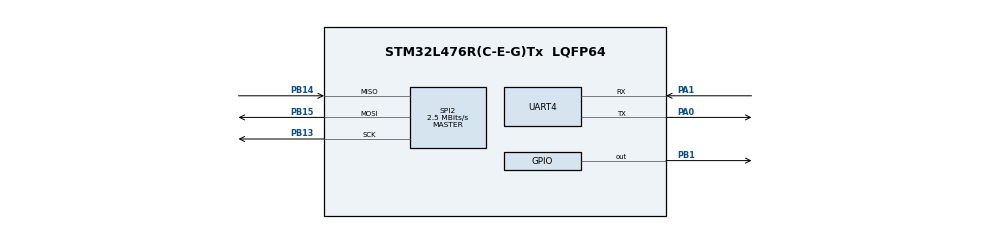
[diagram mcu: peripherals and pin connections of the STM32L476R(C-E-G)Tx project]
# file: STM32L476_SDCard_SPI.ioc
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FATFS._MAX_SS=512
FATFS._USE_LFN=0
Mcu.Family=STM32L4
Mcu.Name=STM32L476R(C-E-G)Tx
Mcu.Package=LQFP64
NVIC.PriorityGroup=NVIC_PRIORITYGROUP_4
PA0.Mode=Asynchronous
PA0.Signal=UART4_TX
PA1.Mode=Asynchronous
PA1.Signal=UART4_RX
PB1.GPIO_PuPd=GPIO_NOPULL
PB1.GPIO_Speed=GPIO_SPEED_FREQ_VERY_HIGH
PB1.PinState=GPIO_PIN_SET
PB1.Signal=GPIO_Output
PB13.GPIO_PuPd=GPIO_NOPULL
PB13.Mode=Full_Duplex_Master
PB13.Signal=SPI2_SCK
PB14.GPIO_PuPd=GPIO_NOPULL
PB14.Mode=Full_Duplex_Master
PB14.Signal=SPI2_MISO
PB15.GPIO_PuPd=GPIO_NOPULL
PB15.Mode=Full_Duplex_Master
PB15.Signal=SPI2_MOSI
PC14-OSC32_IN\ (PC14).Mode=LSE-External-Oscillator
PC14-OSC32_IN\ (PC14).Signal=RCC_OSC32_IN
PC15-OSC32_OUT\ (PC15).Mode=LSE-External-Oscillator
PC15-OSC32_OUT\ (PC15).Signal=RCC_OSC32_OUT
PH0-OSC_IN\ (PH0).Signal=RCC_OSC_IN
PH1-OSC_OUT\ (PH1).Signal=RCC_OSC_OUT
ProjectManager.HeapSize=0x200
ProjectManager.StackSize=0x400
ProjectManager.TargetToolchain=MDK-ARM V5.32
RCC.ADCFreq_Value=64000000
RCC.AHBFreq_Value=80000000
RCC.APB1Freq_Value=80000000
RCC.APB1TimFreq_Value=80000000
RCC.APB2Freq_Value=80000000
RCC.APB2TimFreq_Value=80000000
RCC.CortexFreq_Value=80000000
RCC.HCLKFreq_Value=80000000
RCC.HSE_VALUE=8000000
RCC.HSI_VALUE=16000000
RCC.MSI_VALUE=4000000
RCC.PLLN=10
RCC.PLLSourceVirtual=RCC_PLLSOURCE_HSI
RCC.PREFETCH_ENABLE=1
RCC.SYSCLKFreq_VALUE=80000000
RCC.SYSCLKSource=RCC_SYSCLKSOURCE_PLLCLK
RCC.USBFreq_Value=64000000
RCC.VCOOutputFreq_Value=160000000
SPI2.BaudRatePrescaler=SPI_BAUDRATEPRESCALER_32
SPI2.CalculateBaudRate=2.5 MBits/s
SPI2.DataSize=SPI_DATASIZE_8BIT
SPI2.Direction=SPI_DIRECTION_2LINES
SPI2.Mode=SPI_MODE_MASTER
SPI2.VirtualType=VM_MASTER
TIM2.Prescaler=79
VP_FATFS_VS_Generic.Mode=User_defined
VP_TIM2_VS_ClockSourceINT.Mode=Internal
board=NUCLEO-L476RG

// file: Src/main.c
/* USER CODE BEGIN Header */
/**
  ******************************************************************************
  * @file           : main.c
  * @brief          : Main program body
  ******************************************************************************
  * @attention
  *
  * Copyright (c) 2024 STMicroelectronics.
  * All rights reserved.
  *
  * This software is licensed under terms that can be found in the LICENSE file
  * in the root directory of this software component.
  * If no LICENSE file comes with this software, it is provided AS-IS.
  *
  ******************************************************************************
  */
/* USER CODE END Header */
#include "main.h"
#include "fatfs.h"

/* USER CODE BEGIN Includes */
#include <stdbool.h>
#include <stdio.h>
#include <string.h>
#include <stdarg.h>
/* USER CODE END Includes */

void SystemClock_Config(void);
static void MX_GPIO_Init(void);
static void MX_SPI2_Init(void);
static void MX_TIM2_Init(void);
static void MX_UART4_Init(void);
/* USER CODE BEGIN PFP */
void myprintf(const char *fmt, ...);
/* USER CODE END PFP */

int main(void)
{

  /* MCU Configuration--------------------------------------------------------*/

  /* Reset of all peripherals, Initializes the Flash interface and the Systick. */
  HAL_Init();

  /* Configure the system clock */
  SystemClock_Config();

  /* Initialize all configured peripherals */
  MX_GPIO_Init();
  MX_SPI2_Init();
  MX_TIM2_Init();
  MX_UART4_Init();
  MX_FATFS_Init();
  /* USER CODE BEGIN 2 */
	myprintf("\r\n~ SD card demo ~\r\n\r\n");

  LL_mDelay(1000); //a short delay is important to let the SD card settle

  //some variables for FatFs
  FATFS FatFs; 	//Fatfs handle
  FIL fil; 		//File handle
  FRESULT fres; //Result after operations

  //Open the file system
  fres = f_mount(&FatFs, "/", 1); //1=mount now
  if (fres != FR_OK) {
	myprintf("f_mount error (%i)\r\n", fres);
	while(1);
  }

  //Let's get some statistics from the SD card
  DWORD free_clusters, free_sectors, total_sectors;

  FATFS* getFreeFs;

  fres = f_getfree("/", &free_clusters, &getFreeFs);
  if (fres != FR_OK) {
	myprintf("f_getfree error (%i)\r\n", fres);
	while(1);
  }

  //Formula comes from ChaN's documentation
  total_sectors = (getFreeFs->n_fatent - 2) * getFreeFs->csize;
  free_sectors = free_clusters * getFreeFs->csize;

  myprintf("SD card stats:\r\n%10lu KiB total drive space.\r\n%10lu KiB available.\r\n", total_sectors / 2, free_sectors / 2);

  //Now let's try to open file "test.txt"
  fres = f_open(&fil, "data.txt", FA_READ);
  if (fres != FR_OK) {
	myprintf("f_open error (%i)\r\n", fres);
	while(1);
  }
  myprintf("I was able to open 'test.txt' for reading!\r\n");

  //Read 30 bytes from "test.txt" on the SD card
  BYTE readBuf[128];

  //We can either use f_read OR f_gets to get data out of files
  //f_gets is a wrapper on f_read that does some string formatting for us
//  TCHAR* rres = f_gets((TCHAR*)readBuf, 30, &fil);
//  if(rres != 0) {
//	myprintf("Read string from 'test.txt' contents: %s\r\n", readBuf);
//  } else {
//	myprintf("f_gets error (%i)\r\n", fres);
//  }
	while (f_gets((TCHAR *)readBuf, sizeof(readBuf), &fil) != NULL)
	{
		myprintf("Read line: %s\r\n", readBuf);
	}

  //Be a tidy kiwi - don't forget to close your file!
  f_close(&fil);

//  //Now let's try and write a file "write.txt"
//  fres = f_open(&fil, "write.txt", FA_WRITE | FA_OPEN_ALWAYS | FA_CREATE_ALWAYS);
//  if(fres == FR_OK) {
//	myprintf("I was able to open 'write.txt' for writing\r\n");
//  } else {
//	myprintf("f_open error (%i)\r\n", fres);
//  }

//  //Copy in a string
//  strncpy((char*)readBuf, "a new file is made!", 19);
//  UINT bytesWrote;
//  fres = f_write(&fil, readBuf, 19, &bytesWrote);
//  if(fres == FR_OK) {
//	myprintf("Wrote %i bytes to 'write.txt'!\r\n", bytesWrote);
//  } else {
//	myprintf("f_write error (%i)\r\n");
//  }

//  //Be a tidy kiwi - don't forget to close your file!
//  f_close(&fil);

  //We're done, so de-mount the drive
  f_mount(NULL, "/", 0);
  /* USER CODE END 2 */

  /* Infinite loop */
  while (1)
  {

  }
}

void SystemClock_Config(void)
{
  LL_FLASH_SetLatency(LL_FLASH_LATENCY_4);
  while(LL_FLASH_GetLatency()!= LL_FLASH_LATENCY_4)
  {
  }
  LL_PWR_SetRegulVoltageScaling(LL_PWR_REGU_VOLTAGE_SCALE1);
  while (LL_PWR_IsActiveFlag_VOS() != 0)
  {
  }
  LL_RCC_HSI_Enable();

   /* Wait till HSI is ready */
  while(LL_RCC_HSI_IsReady() != 1)
  {

  }
  LL_RCC_HSI_SetCalibTrimming(16);
  LL_RCC_PLL_ConfigDomain_SYS(LL_RCC_PLLSOURCE_HSI, LL_RCC_PLLM_DIV_1, 10, LL_RCC_PLLR_DIV_2);
  LL_RCC_PLL_EnableDomain_SYS();
  LL_RCC_PLL_Enable();

   /* Wait till PLL is ready */
  while(LL_RCC_PLL_IsReady() != 1)
  {

  }
  LL_RCC_SetSysClkSource(LL_RCC_SYS_CLKSOURCE_PLL);

   /* Wait till System clock is ready */
  while(LL_RCC_GetSysClkSource() != LL_RCC_SYS_CLKSOURCE_STATUS_PLL)
  {

  }
  LL_RCC_SetAHBPrescaler(LL_RCC_SYSCLK_DIV_1);
  LL_RCC_SetAPB1Prescaler(LL_RCC_APB1_DIV_1);
  LL_RCC_SetAPB2Prescaler(LL_RCC_APB2_DIV_1);
  LL_SetSystemCoreClock(80000000);

   /* Update the time base */
  if (HAL_InitTick (TICK_INT_PRIORITY) != HAL_OK)
  {
    Error_Handler();
  }
}

static void MX_SPI2_Init(void)
{

  LL_SPI_InitTypeDef SPI_InitStruct = {0};

  LL_GPIO_InitTypeDef GPIO_InitStruct = {0};

  /* Peripheral clock enable */
  LL_APB1_GRP1_EnableClock(LL_APB1_GRP1_PERIPH_SPI2);

  LL_AHB2_GRP1_EnableClock(LL_AHB2_GRP1_PERIPH_GPIOB);
  /**SPI2 GPIO Configuration
  PB13   ------> SPI2_SCK
  PB14   ------> SPI2_MISO
  PB15   ------> SPI2_MOSI
  */
  GPIO_InitStruct.Pin = LL_GPIO_PIN_13|LL_GPIO_PIN_14|LL_GPIO_PIN_15;
  GPIO_InitStruct.Mode = LL_GPIO_MODE_ALTERNATE;
  GPIO_InitStruct.Speed = LL_GPIO_SPEED_FREQ_VERY_HIGH;
  GPIO_InitStruct.OutputType = LL_GPIO_OUTPUT_PUSHPULL;
  GPIO_InitStruct.Pull = LL_GPIO_PULL_NO;
  GPIO_InitStruct.Alternate = LL_GPIO_AF_5;
  LL_GPIO_Init(GPIOB, &GPIO_InitStruct);

  /* SPI2 parameter configuration*/
  SPI_InitStruct.TransferDirection = LL_SPI_FULL_DUPLEX;
  SPI_InitStruct.Mode = LL_SPI_MODE_MASTER;
  SPI_InitStruct.DataWidth = LL_SPI_DATAWIDTH_8BIT;
  SPI_InitStruct.ClockPolarity = LL_SPI_POLARITY_LOW;
  SPI_InitStruct.ClockPhase = LL_SPI_PHASE_1EDGE;
  SPI_InitStruct.NSS = LL_SPI_NSS_SOFT;
  SPI_InitStruct.BaudRate = LL_SPI_BAUDRATEPRESCALER_DIV32;
  SPI_InitStruct.BitOrder = LL_SPI_MSB_FIRST;
  SPI_InitStruct.CRCCalculation = LL_SPI_CRCCALCULATION_DISABLE;
  SPI_InitStruct.CRCPoly = 7;
  LL_SPI_Init(SPI2, &SPI_InitStruct);
  LL_SPI_SetStandard(SPI2, LL_SPI_PROTOCOL_MOTOROLA);
  LL_SPI_EnableNSSPulseMgt(SPI2);
  /* USER CODE BEGIN SPI2_Init 2 */
	LL_SPI_Enable(SPI2);
  /* USER CODE END SPI2_Init 2 */

}

static void MX_TIM2_Init(void)
{

  LL_TIM_InitTypeDef TIM_InitStruct = {0};

  /* Peripheral clock enable */
  LL_APB1_GRP1_EnableClock(LL_APB1_GRP1_PERIPH_TIM2);

  TIM_InitStruct.Prescaler = 79;
  TIM_InitStruct.CounterMode = LL_TIM_COUNTERMODE_UP;
  TIM_InitStruct.Autoreload = 4294967295;
  TIM_InitStruct.ClockDivision = LL_TIM_CLOCKDIVISION_DIV1;
  LL_TIM_Init(TIM2, &TIM_InitStruct);
  LL_TIM_DisableARRPreload(TIM2);
  LL_TIM_SetClockSource(TIM2, LL_TIM_CLOCKSOURCE_INTERNAL);
  LL_TIM_SetTriggerOutput(TIM2, LL_TIM_TRGO_RESET);
  LL_TIM_DisableMasterSlaveMode(TIM2);
  /* USER CODE BEGIN TIM2_Init 2 */
	LL_TIM_EnableCounter(TIM2);
  /* USER CODE END TIM2_Init 2 */

}

static void MX_UART4_Init(void)
{

  LL_USART_InitTypeDef UART_InitStruct = {0};

  LL_GPIO_InitTypeDef GPIO_InitStruct = {0};

  LL_RCC_SetUARTClockSource(LL_RCC_UART4_CLKSOURCE_PCLK1);

  /* Peripheral clock enable */
  LL_APB1_GRP1_EnableClock(LL_APB1_GRP1_PERIPH_UART4);

  LL_AHB2_GRP1_EnableClock(LL_AHB2_GRP1_PERIPH_GPIOA);
  /**UART4 GPIO Configuration
  PA0   ------> UART4_TX
  PA1   ------> UART4_RX
  */
  GPIO_InitStruct.Pin = LL_GPIO_PIN_0|LL_GPIO_PIN_1;
  GPIO_InitStruct.Mode = LL_GPIO_MODE_ALTERNATE;
  GPIO_InitStruct.Speed = LL_GPIO_SPEED_FREQ_VERY_HIGH;
  GPIO_InitStruct.OutputType = LL_GPIO_OUTPUT_PUSHPULL;
  GPIO_InitStruct.Pull = LL_GPIO_PULL_NO;
  GPIO_InitStruct.Alternate = LL_GPIO_AF_8;
  LL_GPIO_Init(GPIOA, &GPIO_InitStruct);

  UART_InitStruct.BaudRate = 115200;
  UART_InitStruct.DataWidth = LL_USART_DATAWIDTH_8B;
  UART_InitStruct.StopBits = LL_USART_STOPBITS_1;
  UART_InitStruct.Parity = LL_USART_PARITY_NONE;
  UART_InitStruct.TransferDirection = LL_USART_DIRECTION_TX_RX;
  UART_InitStruct.HardwareFlowControl = LL_USART_HWCONTROL_NONE;
  UART_InitStruct.OverSampling = LL_USART_OVERSAMPLING_16;
  LL_USART_Init(UART4, &UART_InitStruct);
  LL_USART_ConfigAsyncMode(UART4);
  LL_USART_Enable(UART4);

}

static void MX_GPIO_Init(void)
{
  LL_GPIO_InitTypeDef GPIO_InitStruct = {0};

  /* GPIO Ports Clock Enable */
  LL_AHB2_GRP1_EnableClock(LL_AHB2_GRP1_PERIPH_GPIOC);
  LL_AHB2_GRP1_EnableClock(LL_AHB2_GRP1_PERIPH_GPIOH);
  LL_AHB2_GRP1_EnableClock(LL_AHB2_GRP1_PERIPH_GPIOA);
  LL_AHB2_GRP1_EnableClock(LL_AHB2_GRP1_PERIPH_GPIOB);

  /**/
  LL_GPIO_SetOutputPin(GPIOB, LL_GPIO_PIN_1);

  /**/
  GPIO_InitStruct.Pin = LL_GPIO_PIN_1;
  GPIO_InitStruct.Mode = LL_GPIO_MODE_OUTPUT;
  GPIO_InitStruct.Speed = LL_GPIO_SPEED_FREQ_VERY_HIGH;
  GPIO_InitStruct.OutputType = LL_GPIO_OUTPUT_PUSHPULL;
  GPIO_InitStruct.Pull = LL_GPIO_PULL_NO;
  LL_GPIO_Init(GPIOB, &GPIO_InitStruct);

}

/* USER CODE BEGIN 4 */
void delay_ms(uint32_t timeDelay)
{
    uint32_t startTick = LL_TIM_GetCounter(TIM2);

    while ((LL_TIM_GetCounter(TIM2) - startTick) < (timeDelay * 1000));
}

/* Gui 1 byte du lieu tu Master cho Slave */
void SPI2_TransmitByte(uint8_t data)
{
    // Doi cho den khi TX buffer trong (TXE flag duoc set)
    while (!LL_SPI_IsActiveFlag_TXE(SPI2));

    // Gui 1 byte du lieu
    LL_SPI_TransmitData8(SPI2, data);

    // Doi cho den khi byte duoc truyen xong (BSY flag duoc reset)
    while (LL_SPI_IsActiveFlag_BSY(SPI2));
}

uint8_t SPI2_ReceiveByte(void)
{
    uint8_t receivedDataTemp = 0x00u;

		//LL_GPIO_ResetOutputPin(GPIOA, LL_GPIO_PIN_4);
    // Doi cho den khi co du lieu nhan duoc (RXNE flag duoc set)
    while (!LL_SPI_IsActiveFlag_RXNE(SPI2));

    // Doc du lieu nhan duoc tu SPI
    receivedDataTemp = LL_SPI_ReceiveData8(SPI2);

		while (LL_SPI_IsActiveFlag_BSY(SPI2));
		//LL_GPIO_SetOutputPin(GPIOA, LL_GPIO_PIN_4);
		return receivedDataTemp;
}

uint8_t LL_SPI_TransmitReceive(SPI_TypeDef *SPIx, uint8_t *pTxData, uint8_t *pRxData, uint16_t Size, uint32_t Timeout)
{
    uint32_t tickstart;

    //LL_GPIO_ResetOutputPin(GPIOB, LL_GPIO_PIN_1); // H? CS xu?ng

    for (uint16_t i = 0; i < Size; i++)
    {
        tickstart = LL_TIM_GetCounter(TIM2); // L?y th?i gian hi?n t?i

        // Ch? TXE (TX buffer empty)
        while (!LL_SPI_IsActiveFlag_TXE(SPIx))
        {
            if ((LL_TIM_GetCounter(TIM2) - tickstart) > Timeout)
                return 1; // Timeout
        }

        // G?i d? li?u
        LL_SPI_TransmitData8(SPIx, pTxData[i]);

				tickstart = LL_TIM_GetCounter(TIM2); // L?y l?i th?i gian hi?n t?i

				// Ch? SPI kh?ng b?n (Busy flag)
				while (LL_SPI_IsActiveFlag_BSY(SPIx))
				{
						if ((LL_TIM_GetCounter(TIM2) - tickstart) > Timeout)
								return 1; // Timeout
				}

        tickstart = LL_TIM_GetCounter(TIM2); // L?y l?i th?i gian hi?n t?i

        // Ch? RXNE (RX buffer not empty)
        while (!LL_SPI_IsActiveFlag_RXNE(SPIx))
        {
            if ((LL_TIM_GetCounter(TIM2) - tickstart) > Timeout)
                return 1; // Timeout
        }

        // ??c d? li?u nh?n du?c
        pRxData[i] = LL_SPI_ReceiveData8(SPIx);
    }

    tickstart = LL_TIM_GetCounter(TIM2); // L?y l?i th?i gian hi?n t?i

    // Ch? SPI kh?ng b?n (Busy flag)
    while (LL_SPI_IsActiveFlag_BSY(SPIx))
    {
        if ((LL_TIM_GetCounter(TIM2) - tickstart) > Timeout)
            return 1; // Timeout
    }

    //LL_GPIO_SetOutputPin(GPIOB, LL_GPIO_PIN_1); // N?ng CS l?n

    return 0; // Th?nh c?ng
}

// Send 1 byte through UART
void UART_SendChar(uint8_t ch)
{
    while (!LL_USART_IsActiveFlag_TXE(UART4));
    LL_USART_TransmitData8(UART4, ch);
    while (!LL_USART_IsActiveFlag_TC(UART4));
}

// Receive 1 byte from UART
uint8_t UART_ReceiveChar(void)
{
    while (!LL_USART_IsActiveFlag_RXNE(UART4));
    return LL_USART_ReceiveData8(UART4);
}

// Send a string through UART
void UART_SendString(char *str)
{
    while (*str) {
        UART_SendChar(*str++);
    }
}

// Receive a string from UART (stop when see character '\n')
void UART_ReceiveString(char *buffer, uint8_t maxLength)
{
    uint8_t index = 0;
    char receivedChar;

    do {
        receivedChar = UART_ReceiveChar();
        buffer[index++] = receivedChar;
    } while (receivedChar != '\n' && index < maxLength - 1);

    buffer[index] = '\0';
}

void myprintf(const char *fmt, ...)
{
  static char buffer[256];
  va_list args;
  va_start(args, fmt);
  vsnprintf(buffer, sizeof(buffer), fmt, args);
  va_end(args);

  int len = strlen(buffer);
  //HAL_UART_Transmit(&huart2, (uint8_t*)buffer, len, -1);
	UART_SendString((char *)buffer);

}
/* USER CODE END 4 */

void Error_Handler(void)
{
  __disable_irq();
  while (1)
  {
  }
}
